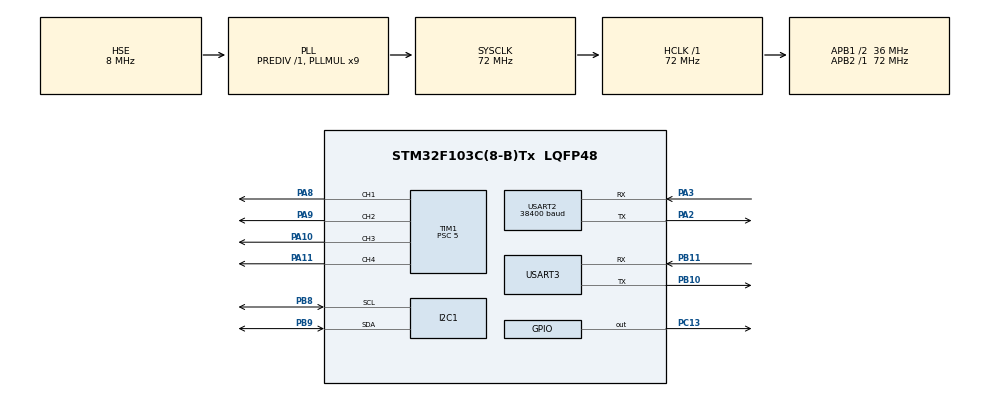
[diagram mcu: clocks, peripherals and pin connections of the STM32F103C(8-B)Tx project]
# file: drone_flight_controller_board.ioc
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Mcu.Family=STM32F1
Mcu.Name=STM32F103C(8-B)Tx
Mcu.Package=LQFP48
NVIC.PriorityGroup=NVIC_PRIORITYGROUP_4
NVIC.TIM2_IRQn=true\:0\:0\:false\:false\:true\:true\:true\:true
NVIC.USART2_IRQn=true\:0\:0\:false\:false\:true\:true\:true\:true
NVIC.USART3_IRQn=true\:0\:0\:false\:false\:true\:true\:true\:true
PA10.Signal=S_TIM1_CH3
PA11.Signal=S_TIM1_CH4
PA13.Mode=Serial_Wire
PA13.Signal=SYS_JTMS-SWDIO
PA14.Mode=Serial_Wire
PA14.Signal=SYS_JTCK-SWCLK
PA2.Mode=Asynchronous
PA2.Signal=USART2_TX
PA3.Mode=Asynchronous
PA3.Signal=USART2_RX
PA8.Signal=S_TIM1_CH1
PA9.Signal=S_TIM1_CH2
PB10.Mode=Asynchronous
PB10.Signal=USART3_TX
PB11.Mode=Asynchronous
PB11.Signal=USART3_RX
PB8.Mode=I2C
PB8.Signal=I2C1_SCL
PB9.Mode=I2C
PB9.Signal=I2C1_SDA
PC13-TAMPER-RTC.Signal=GPIO_Output
PD0-OSC_IN.Mode=HSE-External-Oscillator
PD0-OSC_IN.Signal=RCC_OSC_IN
PD1-OSC_OUT.Mode=HSE-External-Oscillator
PD1-OSC_OUT.Signal=RCC_OSC_OUT
ProjectManager.HeapSize=0x200
ProjectManager.StackSize=0x400
ProjectManager.TargetToolchain=STM32CubeIDE
RCC.AHBFreq_Value=72000000
RCC.APB1CLKDivider=RCC_HCLK_DIV2
RCC.APB1Freq_Value=36000000
RCC.APB1TimFreq_Value=72000000
RCC.APB2Freq_Value=72000000
RCC.APB2TimFreq_Value=72000000
RCC.HCLKFreq_Value=72000000
RCC.PLLMUL=RCC_PLL_MUL9
RCC.PLLSourceVirtual=RCC_PLLSOURCE_HSE
RCC.SYSCLKFreq_VALUE=72000000
RCC.SYSCLKSource=RCC_SYSCLKSOURCE_PLLCLK
RCC.USBFreq_Value=48000000
RCC.USBPrescaler=RCC_USBCLKSOURCE_PLL_DIV1_5
SH.S_TIM1_CH1.0=TIM1_CH1,PWM Generation1 CH1
SH.S_TIM1_CH2.0=TIM1_CH2,PWM Generation2 CH2
SH.S_TIM1_CH3.0=TIM1_CH3,PWM Generation3 CH3
SH.S_TIM1_CH4.0=TIM1_CH4,PWM Generation4 CH4
TIM1.Channel-PWM\ Generation1\ CH1=TIM_CHANNEL_1
TIM1.Channel-PWM\ Generation2\ CH2=TIM_CHANNEL_2
TIM1.Channel-PWM\ Generation3\ CH3=TIM_CHANNEL_3
TIM1.Channel-PWM\ Generation4\ CH4=TIM_CHANNEL_4
TIM1.Prescaler=5
TIM2.Period=99
TIM2.Prescaler=7999
USART2.BaudRate=38400
USART2.VirtualMode=VM_ASYNC
USART3.VirtualMode=VM_ASYNC
VP_TIM1_VS_ClockSourceINT.Mode=Internal
VP_TIM2_VS_ClockSourceINT.Mode=Internal
board=custom

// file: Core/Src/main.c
/* USER CODE BEGIN Header */
/**
  ******************************************************************************
  * @file           : main.c
  * @brief          : Main program body
  ******************************************************************************
  * @attention
  *
  * Copyright (c) 2023 STMicroelectronics.
  * All rights reserved.
  *
  * This software is licensed under terms that can be found in the LICENSE file
  * in the root directory of this software component.
  * If no LICENSE file comes with this software, it is provided AS-IS.
  *
  ******************************************************************************
  */
/* USER CODE END Header */
#include "main.h"

/* USER CODE BEGIN Includes */
#include <string.h>
#include <stdio.h>
#include <stdlib.h>
#include <math.h>
#include <stdbool.h>
#include "motor.c"
#include "BMP180.h"
#include "MPU6050.h"

/* USER CODE END Includes */

/* USER CODE BEGIN PD */
#define TIMEOUT 100
#define MAX_PWM 65000
uint16_t MIN_PWM = 40000;

bool calculate_data = false;

/* USER CODE END PD */

I2C_HandleTypeDef hi2c1;

TIM_HandleTypeDef htim1;
TIM_HandleTypeDef htim2;

UART_HandleTypeDef huart2;
UART_HandleTypeDef huart3;

/* USER CODE BEGIN PV */

float F[2*2]= {1, 0.01,
		       0, 1
};
float G[2*1] = {0.5*0.01*0.01,
		        0.004
};

float P[2*2] = {0, 0,
		        0, 0
};
//float Q[2*2] = G*~G*10.0f*10.0f;

// altitude and velocity
float S[2*1] = {0, 0};
float H[1*2] = {1, 0};

float I[2*2] = {1, 0,
		        0, 1};
float Acc[1*1]; // accelerometer measurement in centimeter/s**2

float K[2*1];
float R[1*1] = {30*30};

float L[1*1];
float M[1*1]; // just barometer measurement in centimeters
/*
void kalman_2d(float AccZ, float AltBaro){
	Acc[0] = AccZ;
	S = F*S + G*ACC;
	P = F*P*~F + Q;
	L = H*P*~H + R;
	K = P*~H*Invert(L);

	M[0] = AltBaro;
	S = S+K*(M-H*S);
	P = (I-K*H)*P;
}*/

typedef struct {
	uint16_t motor0;
	uint16_t motor1;
	uint16_t motor2;
	uint16_t motor3;

	bool stop_motors;
	bool pid_on;
} Drone;

Drone drone;

typedef struct {
	float alpha;

	float accel_roll;
	float accel_pitch;

	float gyro_roll;
	float gyro_pitch;
	float gyro_yaw;

	float gyro_x_offset;
	float gyro_y_offset;
	float gyro_z_offset;

	float accel_x_offset;
	float accel_y_offset;
	float accel_z_offset;

	float complementary_roll;
	float complementary_pitch;
} ComplementaryFilterRP;

// for UART receive
uint8_t rx_buffer[2];
uint8_t esp_buffer[2];

/* USER CODE END PV */

void SystemClock_Config(void);
static void MX_GPIO_Init(void);
static void MX_USART2_UART_Init(void);
static void MX_TIM1_Init(void);
static void MX_TIM2_Init(void);
static void MX_I2C1_Init(void);
static void MX_USART3_UART_Init(void);

/* USER CODE BEGIN 0 */

struct LPF{
	float alpha;
	float offset;

	float input;
	float output;
} altitude;

void init_LPF(struct LPF *filter, float alpha){
	filter->alpha = alpha;
	filter->output = 0.0;
	filter->offset = 0.0;
}

void update_LPF(struct LPF *filter){
	filter->output = filter->alpha*filter->output + (1-filter->alpha)*filter->input;
}

void assign_motor_pwms(void){
	TIM1->CCR1 = drone.motor0;
	TIM1->CCR2 = drone.motor1;
	TIM1->CCR3 = drone.motor2;
	TIM1->CCR4 = drone.motor3;
}

void motor_zeros(void){
	drone.motor0 = 0;
	drone.motor1 = 0;
	drone.motor2 = 0;
	drone.motor3 = 0;

	assign_motor_pwms();
}

void motor0_plus(uint16_t pwm){
	if (drone.motor0 + pwm < MAX_PWM){
		drone.motor0 += pwm;
		TIM1->CCR1 = drone.motor0;
	}
}
void motor0_minus(uint16_t pwm){
	if (drone.motor0 - pwm > MIN_PWM){
		drone.motor0 -= pwm;
		TIM1->CCR1 = drone.motor0;
	}
}

void motor1_plus(uint16_t pwm){
	if (drone.motor1 + pwm < MAX_PWM){
		drone.motor1 += pwm;
		TIM1->CCR2 = drone.motor1;
	}
}
void motor1_minus(uint16_t pwm){
	if (drone.motor1 - pwm > MIN_PWM){
		drone.motor1 -= pwm;
		TIM1->CCR2 = drone.motor1;
	}
}

void motor2_plus(uint16_t pwm){
	if (drone.motor2 + pwm < MAX_PWM){
		drone.motor2 += pwm;
		TIM1->CCR3 = drone.motor2;
	}
}
void motor2_minus(uint16_t pwm){
	if (drone.motor2 - pwm > MIN_PWM){
		drone.motor2 -= pwm;
		TIM1->CCR3 = drone.motor2;
	}
}

void motor3_plus(uint16_t pwm){
	if (drone.motor3 + pwm < MAX_PWM){
		drone.motor3 += pwm;
		TIM1->CCR4 = drone.motor3;
	}
}
void motor3_minus(uint16_t pwm){
	if (drone.motor3 - pwm > MIN_PWM){
		drone.motor3 -= pwm;
		TIM1->CCR4 = drone.motor3;
	}
}

typedef int16_t(func)(void);

float getAVG(func f, float div){
	int16_t sum = 0;
	for (uint8_t i=0; i<20; i++){
		sum += f();
	}
	return (sum/20)/div;
}

void calculate_offsets(ComplementaryFilterRP *CPF){
	CPF->accel_x_offset = getAVG(get_x_a, 16384.0);
	CPF->accel_y_offset = getAVG(get_y_a, 16384.0);
	CPF->accel_z_offset = getAVG(get_z_a, 16384.0);

	CPF->gyro_x_offset = getAVG(get_x_g, 131.0);
	CPF->gyro_y_offset = getAVG(get_y_g, 131.0);
	CPF->gyro_z_offset = getAVG(get_z_g, 131.0);
}

typedef struct {
	float kp;
	float ki;
	float kd;

	float heading;
	float cumulative_error;
	float previous_error;
} Axis_PID;

float kp_roll  = 3.5;
float ki_roll  = 0.0;
float kd_roll  = 40.0;
float roll_heading     = 0.0;
float roll_cumulative_error = 0.0;
float roll_previous_error   = 0.0;

void PID_Roll(float pv){
	float error = pv - (float)roll_heading;
	float p = error * kp_roll;
	float i = roll_cumulative_error * ki_roll;
	float d = (error - roll_previous_error) * kd_roll;

	float total = p + i + d;

	if(total > 0){
		motor0_minus((uint16_t)total);
		motor1_minus((uint16_t)total);
		motor2_plus((uint16_t)total);
		motor3_plus((uint16_t)total);
	}
	else{
		total = 0-total;
		motor0_plus((uint16_t)total);
		motor1_plus((uint16_t)total);
		motor2_minus((uint16_t)total);
		motor3_minus((uint16_t)total);
	}

	roll_cumulative_error += error;
	roll_previous_error    = error;
}

float kp_pitch = 3.5;
float ki_pitch = 0.0;
float kd_pitch = 40.0;
float pitch_heading    = 0.0;
float pitch_cumulative_error = 0.0;
float pitch_previous_error   = 0.0;

void PID_Pitch(float pv){
	float error = pv - (float)pitch_heading;
	float p = error * kp_pitch;
	float i = pitch_cumulative_error * ki_pitch;
	float d = (error - pitch_previous_error) * kd_pitch;

	float total = p + i + d;

	if(total > 0){
		motor0_plus((uint16_t)total);
		motor1_minus((uint16_t)total);
		motor2_plus((uint16_t)total);
		motor3_minus((uint16_t)total);
	}
	else{
		total = 0-total;
		motor0_minus((uint16_t)total);
		motor1_plus((uint16_t)total);
		motor2_minus((uint16_t)total);
		motor3_plus((uint16_t)total);
	}

	pitch_cumulative_error += error;
	pitch_previous_error    = error;
}

float kp_yaw = 3.5;
float ki_yaw = 0.0;
float kd_yaw = 40.0;
float yaw_heading    = 0.0;
float yaw_cumulative_error = 0.0;
float yaw_previous_error   = 0.0;

void PID_Yaw(float pv){
	float error = pv - (float)yaw_heading;
	float p = error * kp_yaw;
	float i = yaw_cumulative_error * ki_yaw;
	float d = (error - yaw_previous_error) * kd_yaw;

	float total = p + i + d;

	if(pv > 0){
		motor0_plus((uint16_t)total);
		motor1_minus((uint16_t)total);
		motor2_minus((uint16_t)total);
		motor3_plus((uint16_t)total);
	}
	else{
		total = 0-total;
		motor0_minus((uint16_t)total);
		motor1_plus((uint16_t)total);
		motor2_plus((uint16_t)total);
		motor3_minus((uint16_t)total);
	}

	yaw_cumulative_error += error;
	yaw_previous_error    = error;
}

void landing(void){
	drone.pid_on = false;
	drone.stop_motors = false;

	while(drone.motor0 > 0){
		if(drone.motor0 > 500){
			drone.motor0 -= 500;
		}
		else{
			break;
		}

		if(drone.motor1 > 500){
			drone.motor1 -= 500;
		}
		else{
			break;
		}

		if(drone.motor2 > 500){
			drone.motor2 -= 500;
		}
		else{
			break;
		}

		if(drone.motor3 > 500){
			drone.motor3 -= 500;
		}
		else{
			break;
		}

		assign_motor_pwms();
		HAL_Delay(50);
	}
	motor_zeros();
}

void ESP_Init(void){
	uint8_t enable_connections[13] = "AT+CIPMUX=1\r\n"; // allow multiple connections
	uint8_t start_server[19] = "AT+CIPSERVER=1,80\r\n"; // bind server (port 80)

	for(uint16_t i=0; i<65535; i++);
	HAL_UART_Transmit(&huart3, (const uint8_t*)enable_connections, strlen((char*)enable_connections), TIMEOUT);

	for(uint16_t i=0; i<65535; i++);
	HAL_UART_Transmit(&huart3, (const uint8_t*)start_server, strlen((char*)start_server), TIMEOUT);
}

/* USER CODE END 0 */

int main(void)
{

  /* MCU Configuration--------------------------------------------------------*/

  /* Reset of all peripherals, Initializes the Flash interface and the Systick. */
  HAL_Init();

  /* Configure the system clock */
  SystemClock_Config();

  /* Initialize all configured peripherals */
  MX_GPIO_Init();
  MX_TIM1_Init();
  MX_TIM2_Init();
  MX_I2C1_Init();
  MX_USART2_UART_Init();
  MX_USART3_UART_Init();
  /* USER CODE BEGIN 2 */

  ComplementaryFilterRP CPF = {.alpha = 0.98, .complementary_roll = 0.0F, .complementary_pitch = 0.0F, .gyro_yaw = 0.0F};

  drone.pid_on      = false;
  drone.stop_motors = false;

  HAL_TIM_PWM_Start(&htim1, TIM_CHANNEL_1);
  HAL_TIM_PWM_Start(&htim1, TIM_CHANNEL_2);
  HAL_TIM_PWM_Start(&htim1, TIM_CHANNEL_3);
  HAL_TIM_PWM_Start(&htim1, TIM_CHANNEL_4);

  motor_zeros();
  MPU6050_Init();
  ESP_Init();
  //init_LPF(&altitude, 0.99);
  //BMP180_start();

  HAL_TIM_Base_Start_IT(&htim2);

  HAL_UART_Receive_IT(&huart2, (uint8_t*)rx_buffer, 1);
  HAL_UART_Receive_IT(&huart3, (uint8_t*)esp_buffer, 1);

  /* USER CODE END 2 */

  /* Infinite loop */
  /* USER CODE BEGIN WHILE */
  float dt = 0.0112;
  float AcX, AcY, AcZ;
  uint8_t pbuf[30];
  uint8_t counter = 0;
  //altitude.offset = BMP180_AVGAlt();
  calculate_offsets(&CPF);
  while(1){
	  if(calculate_data){
		  counter++;
		  calculate_data = false;
		  if (counter%10 == 0){
			  sprintf((char*)pbuf, "m0: %.03d ", drone.motor0);
			  HAL_UART_Transmit(&huart2, pbuf, strlen((char*)pbuf), TIMEOUT);
			  sprintf((char*)pbuf, "m1: %.03d ", drone.motor1);
			  HAL_UART_Transmit(&huart2, pbuf, strlen((char*)pbuf), TIMEOUT);
			  sprintf((char*)pbuf, "m2: %.03d ", drone.motor2);
			  HAL_UART_Transmit(&huart2, pbuf, strlen((char*)pbuf), TIMEOUT);
			  sprintf((char*)pbuf, "m3: %.03d\r\n", drone.motor3);
			  HAL_UART_Transmit(&huart2, pbuf, strlen((char*)pbuf), TIMEOUT);

			  sprintf((char*)pbuf, "r %.03f\r\n", CPF.complementary_roll);
			  HAL_UART_Transmit(&huart2, pbuf, strlen((char*)pbuf), TIMEOUT);
			  sprintf((char*)pbuf, "p %.03f\r\n", CPF.complementary_pitch);
			  HAL_UART_Transmit(&huart2, pbuf, strlen((char*)pbuf), TIMEOUT);
			  sprintf((char*)pbuf, "y %.03f\r\n", CPF.gyro_yaw);
			  HAL_UART_Transmit(&huart2, pbuf, strlen((char*)pbuf), TIMEOUT);

			  /*
			  sprintf((char*)pbuf, "baro: %.03f  ", baro);
			  HAL_UART_Transmit(&huart2, pbuf, strlen((char*)pbuf), TIMEOUT);
			  sprintf((char*)pbuf, "position: %.03f  ", position);
			  HAL_UART_Transmit(&huart2, pbuf, strlen((char*)pbuf), TIMEOUT);

			  sprintf((char*)pbuf, "Temp: %.03f ", BMP180_GetTemp());
			  HAL_UART_Transmit(&huart2, pbuf, strlen((char*)pbuf), TIMEOUT);
			  sprintf((char*)pbuf, "Pressure: %.03f ", BMP180_GetPress(0));
			  HAL_UART_Transmit(&huart2, pbuf, strlen((char*)pbuf), TIMEOUT);
			  sprintf((char*)pbuf, "Altitude: %.03f\r\n", BMP180_GetAlt(0));
			  HAL_UART_Transmit(&huart2, pbuf, strlen((char*)pbuf), TIMEOUT);*/
		  }
/*
		  altitude.input = BMP180_GetAlt(0) - altitude.offset;
		  update_LPF(&altitude);
		  baro   = altitude.output;
		  accel  = get_z_a()/16384.0-CPF.accel_z_offset;
		  speed += accel*9.8*dt;
		  position = speed + accel*dt*dt/2;
*/

		  AcX = get_x_a()/16384.0 - CPF.accel_x_offset;
		  AcY = get_y_a()/16384.0 - CPF.accel_y_offset;
		  AcZ = get_z_a()/16384.0;// - CPF.accel_z_offset;

		  CPF.accel_roll  = atan2(AcY, sqrt(AcX*AcX + AcZ*AcZ)) * 57.3; // 57.296
		  CPF.accel_pitch = atan2(AcX, sqrt(AcY*AcY + AcZ*AcZ)) * 57.3; // 57.296

		  CPF.complementary_roll  = CPF.alpha*(CPF.complementary_roll  + (get_x_g()/131.0-CPF.gyro_x_offset)*dt) + (1-CPF.alpha)*CPF.accel_roll;
	  	  CPF.complementary_pitch = CPF.alpha*(CPF.complementary_pitch + (get_y_g()/131.0-CPF.gyro_y_offset)*dt) - (1-CPF.alpha)*CPF.accel_pitch;
		  CPF.gyro_yaw += (get_z_g()/131.0 - CPF.gyro_z_offset) * dt;

		  if(drone.pid_on == true){
			  PID_Roll(CPF.complementary_roll);
			  PID_Pitch(CPF.complementary_pitch);
			  //PID_Yaw(CPF.gyro_yaw);
		  }
		  if(drone.stop_motors){
			  landing();
		  }
	  }
    /* USER CODE END WHILE */

  }
}

void SystemClock_Config(void)
{
  RCC_OscInitTypeDef RCC_OscInitStruct = {0};
  RCC_ClkInitTypeDef RCC_ClkInitStruct = {0};

  /** Initializes the RCC Oscillators according to the specified parameters
  * in the RCC_OscInitTypeDef structure.
  */
  RCC_OscInitStruct.OscillatorType = RCC_OSCILLATORTYPE_HSE;
  RCC_OscInitStruct.HSEState = RCC_HSE_ON;
  RCC_OscInitStruct.HSEPredivValue = RCC_HSE_PREDIV_DIV1;
  RCC_OscInitStruct.HSIState = RCC_HSI_ON;
  RCC_OscInitStruct.PLL.PLLState = RCC_PLL_ON;
  RCC_OscInitStruct.PLL.PLLSource = RCC_PLLSOURCE_HSE;
  RCC_OscInitStruct.PLL.PLLMUL = RCC_PLL_MUL9;
  if (HAL_RCC_OscConfig(&RCC_OscInitStruct) != HAL_OK)
  {
    Error_Handler();
  }

  /** Initializes the CPU, AHB and APB buses clocks
  */
  RCC_ClkInitStruct.ClockType = RCC_CLOCKTYPE_HCLK|RCC_CLOCKTYPE_SYSCLK
                              |RCC_CLOCKTYPE_PCLK1|RCC_CLOCKTYPE_PCLK2;
  RCC_ClkInitStruct.SYSCLKSource = RCC_SYSCLKSOURCE_PLLCLK;
  RCC_ClkInitStruct.AHBCLKDivider = RCC_SYSCLK_DIV1;
  RCC_ClkInitStruct.APB1CLKDivider = RCC_HCLK_DIV2;
  RCC_ClkInitStruct.APB2CLKDivider = RCC_HCLK_DIV1;

  if (HAL_RCC_ClockConfig(&RCC_ClkInitStruct, FLASH_LATENCY_2) != HAL_OK)
  {
    Error_Handler();
  }
}

static void MX_I2C1_Init(void)
{

  hi2c1.Instance = I2C1;
  hi2c1.Init.ClockSpeed = 100000;
  hi2c1.Init.DutyCycle = I2C_DUTYCYCLE_2;
  hi2c1.Init.OwnAddress1 = 0;
  hi2c1.Init.AddressingMode = I2C_ADDRESSINGMODE_7BIT;
  hi2c1.Init.DualAddressMode = I2C_DUALADDRESS_DISABLE;
  hi2c1.Init.OwnAddress2 = 0;
  hi2c1.Init.GeneralCallMode = I2C_GENERALCALL_DISABLE;
  hi2c1.Init.NoStretchMode = I2C_NOSTRETCH_DISABLE;
  if (HAL_I2C_Init(&hi2c1) != HAL_OK)
  {
    Error_Handler();
  }

}

static void MX_TIM1_Init(void)
{

  TIM_ClockConfigTypeDef sClockSourceConfig = {0};
  TIM_MasterConfigTypeDef sMasterConfig = {0};
  TIM_OC_InitTypeDef sConfigOC = {0};
  TIM_BreakDeadTimeConfigTypeDef sBreakDeadTimeConfig = {0};

  htim1.Instance = TIM1;
  htim1.Init.Prescaler = 5;
  htim1.Init.CounterMode = TIM_COUNTERMODE_UP;
  htim1.Init.Period = 65535;
  htim1.Init.ClockDivision = TIM_CLOCKDIVISION_DIV1;
  htim1.Init.RepetitionCounter = 0;
  htim1.Init.AutoReloadPreload = TIM_AUTORELOAD_PRELOAD_DISABLE;
  if (HAL_TIM_Base_Init(&htim1) != HAL_OK)
  {
    Error_Handler();
  }
  sClockSourceConfig.ClockSource = TIM_CLOCKSOURCE_INTERNAL;
  if (HAL_TIM_ConfigClockSource(&htim1, &sClockSourceConfig) != HAL_OK)
  {
    Error_Handler();
  }
  if (HAL_TIM_PWM_Init(&htim1) != HAL_OK)
  {
    Error_Handler();
  }
  sMasterConfig.MasterOutputTrigger = TIM_TRGO_RESET;
  sMasterConfig.MasterSlaveMode = TIM_MASTERSLAVEMODE_DISABLE;
  if (HAL_TIMEx_MasterConfigSynchronization(&htim1, &sMasterConfig) != HAL_OK)
  {
    Error_Handler();
  }
  sConfigOC.OCMode = TIM_OCMODE_PWM1;
  sConfigOC.Pulse = 0;
  sConfigOC.OCPolarity = TIM_OCPOLARITY_HIGH;
  sConfigOC.OCNPolarity = TIM_OCNPOLARITY_HIGH;
  sConfigOC.OCFastMode = TIM_OCFAST_DISABLE;
  sConfigOC.OCIdleState = TIM_OCIDLESTATE_RESET;
  sConfigOC.OCNIdleState = TIM_OCNIDLESTATE_RESET;
  if (HAL_TIM_PWM_ConfigChannel(&htim1, &sConfigOC, TIM_CHANNEL_1) != HAL_OK)
  {
    Error_Handler();
  }
  if (HAL_TIM_PWM_ConfigChannel(&htim1, &sConfigOC, TIM_CHANNEL_2) != HAL_OK)
  {
    Error_Handler();
  }
  if (HAL_TIM_PWM_ConfigChannel(&htim1, &sConfigOC, TIM_CHANNEL_3) != HAL_OK)
  {
    Error_Handler();
  }
  if (HAL_TIM_PWM_ConfigChannel(&htim1, &sConfigOC, TIM_CHANNEL_4) != HAL_OK)
  {
    Error_Handler();
  }
  sBreakDeadTimeConfig.OffStateRunMode = TIM_OSSR_DISABLE;
  sBreakDeadTimeConfig.OffStateIDLEMode = TIM_OSSI_DISABLE;
  sBreakDeadTimeConfig.LockLevel = TIM_LOCKLEVEL_OFF;
  sBreakDeadTimeConfig.DeadTime = 0;
  sBreakDeadTimeConfig.BreakState = TIM_BREAK_DISABLE;
  sBreakDeadTimeConfig.BreakPolarity = TIM_BREAKPOLARITY_HIGH;
  sBreakDeadTimeConfig.AutomaticOutput = TIM_AUTOMATICOUTPUT_DISABLE;
  if (HAL_TIMEx_ConfigBreakDeadTime(&htim1, &sBreakDeadTimeConfig) != HAL_OK)
  {
    Error_Handler();
  }
  HAL_TIM_MspPostInit(&htim1);

}

static void MX_TIM2_Init(void)
{

  TIM_ClockConfigTypeDef sClockSourceConfig = {0};
  TIM_MasterConfigTypeDef sMasterConfig = {0};

  htim2.Instance = TIM2;
  htim2.Init.Prescaler = 7999;
  htim2.Init.CounterMode = TIM_COUNTERMODE_UP;
  htim2.Init.Period = 99;
  htim2.Init.ClockDivision = TIM_CLOCKDIVISION_DIV1;
  htim2.Init.AutoReloadPreload = TIM_AUTORELOAD_PRELOAD_DISABLE;
  if (HAL_TIM_Base_Init(&htim2) != HAL_OK)
  {
    Error_Handler();
  }
  sClockSourceConfig.ClockSource = TIM_CLOCKSOURCE_INTERNAL;
  if (HAL_TIM_ConfigClockSource(&htim2, &sClockSourceConfig) != HAL_OK)
  {
    Error_Handler();
  }
  sMasterConfig.MasterOutputTrigger = TIM_TRGO_RESET;
  sMasterConfig.MasterSlaveMode = TIM_MASTERSLAVEMODE_DISABLE;
  if (HAL_TIMEx_MasterConfigSynchronization(&htim2, &sMasterConfig) != HAL_OK)
  {
    Error_Handler();
  }

}

static void MX_USART2_UART_Init(void)
{

  huart2.Instance = USART2;
  huart2.Init.BaudRate = 38400;
  huart2.Init.WordLength = UART_WORDLENGTH_8B;
  huart2.Init.StopBits = UART_STOPBITS_1;
  huart2.Init.Parity = UART_PARITY_NONE;
  huart2.Init.Mode = UART_MODE_TX_RX;
  huart2.Init.HwFlowCtl = UART_HWCONTROL_NONE;
  huart2.Init.OverSampling = UART_OVERSAMPLING_16;
  if (HAL_UART_Init(&huart2) != HAL_OK)
  {
    Error_Handler();
  }

}

static void MX_USART3_UART_Init(void)
{

  huart3.Instance = USART3;
  huart3.Init.BaudRate = 115200;
  huart3.Init.WordLength = UART_WORDLENGTH_8B;
  huart3.Init.StopBits = UART_STOPBITS_1;
  huart3.Init.Parity = UART_PARITY_NONE;
  huart3.Init.Mode = UART_MODE_TX_RX;
  huart3.Init.HwFlowCtl = UART_HWCONTROL_NONE;
  huart3.Init.OverSampling = UART_OVERSAMPLING_16;
  if (HAL_UART_Init(&huart3) != HAL_OK)
  {
    Error_Handler();
  }

}

static void MX_GPIO_Init(void)
{
  GPIO_InitTypeDef GPIO_InitStruct = {0};

  /* GPIO Ports Clock Enable */
  __HAL_RCC_GPIOC_CLK_ENABLE();
  __HAL_RCC_GPIOD_CLK_ENABLE();
  __HAL_RCC_GPIOA_CLK_ENABLE();
  __HAL_RCC_GPIOB_CLK_ENABLE();

  /*Configure GPIO pin Output Level */
  HAL_GPIO_WritePin(GPIOC, GPIO_PIN_13, GPIO_PIN_RESET);

  /*Configure GPIO pin : PC13 */
  GPIO_InitStruct.Pin = GPIO_PIN_13;
  GPIO_InitStruct.Mode = GPIO_MODE_OUTPUT_PP;
  GPIO_InitStruct.Pull = GPIO_NOPULL;
  GPIO_InitStruct.Speed = GPIO_SPEED_FREQ_LOW;
  HAL_GPIO_Init(GPIOC, &GPIO_InitStruct);

}

/* USER CODE BEGIN 4 */

void HAL_TIM_PeriodElapsedCallback(TIM_HandleTypeDef *htim){
	if(htim->Instance == TIM2){
		//11.1 ms
		calculate_data = true;
		//HAL_GPIO_TogglePin(GPIOB, GPIO_PIN_0);
	}
}

void HAL_UART_RxCpltCallback(UART_HandleTypeDef *huart)
{
  /* Prevent unused argument(s) compilation warning */
  UNUSED(huart);
  /* NOTE: This function should not be modified, when the callback is needed,
           the HAL_UART_RxCpltCallback could be implemented in the user file
   */
  if(huart->Instance == USART2){
	  HAL_UART_Receive_IT(&huart2, (uint8_t*)rx_buffer, 1);
	  if(rx_buffer[0] == 'u'){
		  motor0_plus(500);
		  motor1_plus(500);
		  motor2_plus(500);
		  motor3_plus(500);
	  }
	  else if(rx_buffer[0] == 'd'){
		  motor0_minus(500);
		  motor1_minus(500);
		  motor2_minus(500);
		  motor3_minus(500);
	  }
	  else if(rx_buffer[0] == 's'){
		  //MIN_PWM = 0;
		  drone.pid_on = false;
		  motor_zeros();
	  }
	  else if(rx_buffer[0] == 'w'){
		  drone.stop_motors = true;
	  }

	  else if(rx_buffer[0] == 'r'){
		  motor0_plus(200);
		  motor1_plus(200);
		  motor2_minus(200);
		  motor3_minus(200);
	  }
	  else if(rx_buffer[0] == 'R'){
		  motor0_minus(200);
		  motor1_minus(200);
		  motor2_plus(200);
		  motor3_plus(200);
	  }

	  else if(rx_buffer[0] == 'p'){
		  motor0_minus(200);
		  motor1_plus(200);
		  motor2_minus(200);
		  motor3_plus(200);
	  }
	  else if(rx_buffer[0] == 'P'){
		  motor0_plus(200);
		  motor1_minus(200);
		  motor2_plus(200);
		  motor3_minus(200);
	  }

	  else if(rx_buffer[0] == 'y'){
		  motor0_plus(200);
		  motor1_minus(200);
		  motor2_minus(200);
		  motor3_plus(200);
	  }
	  else if(rx_buffer[0] == 'Y'){
		  motor0_minus(200);
		  motor1_plus(200);
		  motor2_plus(200);
		  motor3_minus(200);
	  }

	  else if(rx_buffer[0] == 'i'){
		  //MIN_PWM = 15000;
		  drone.pid_on = true;
	  }

	  else if(rx_buffer[0] == '1'){
		  motor0_plus(200);
	  }
	  else if(rx_buffer[0] == '2'){
		  motor1_plus(200);
	  }
	  else if(rx_buffer[0] == '3'){
		  motor2_plus(200);
	  }
	  else if(rx_buffer[0] == '4'){
		  motor3_plus(200);
	  }
	  else if(rx_buffer[0] == '!'){
		  motor0_minus(200);
	  }
	  else if(rx_buffer[0] == '@'){
		  motor1_minus(200);
	  }
	  else if(rx_buffer[0] == '#'){
		  motor2_minus(200);
	  }
	  else if(rx_buffer[0] == '$'){
		  motor3_minus(200);
	  }
  }
  else if(huart->Instance == USART3){
	  if(esp_buffer[0] == '1'){
		  motor0_plus(500);
		  motor1_plus(500);
		  motor2_plus(500);
		  motor3_plus(500);
	  }
	  else if(esp_buffer[0] == '2'){
		  motor0_minus(500);
		  motor1_minus(500);
		  motor2_minus(500);
		  motor3_minus(500);
	  }
	  else if(esp_buffer[0] == '3'){
		  //MIN_PWM = 0;
		  drone.pid_on = false;
		  motor_zeros();
	  }
	  else if(esp_buffer[0] == '4'){
		  drone.stop_motors = true;
	  }
	  else if(esp_buffer[0] == '5'){
		  motor0_plus(45000);
		  motor1_plus(45000);
		  motor2_plus(45000);
		  motor3_plus(45000);
		  //MIN_PWM = 22000;
		  drone.pid_on = true;
	  }
	  HAL_UART_Receive_IT(&huart3, (uint8_t*)esp_buffer, 1);
    }
}

/* USER CODE END 4 */

void Error_Handler(void)
{
  __disable_irq();
  while (1)
  {
  }
}
